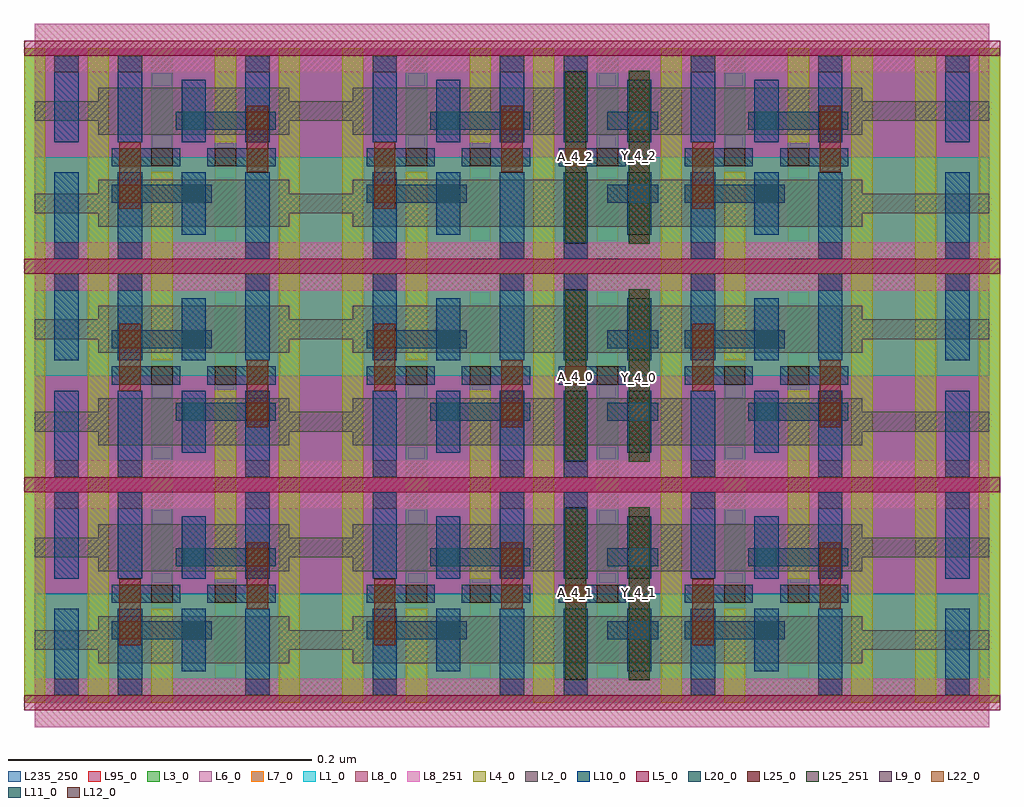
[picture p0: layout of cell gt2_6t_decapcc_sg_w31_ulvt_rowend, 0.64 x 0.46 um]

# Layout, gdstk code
import gdstk
lib = gdstk.Library(unit=1e-6, precision=5e-10)
def R(c, l, rs):  # rectangles x0, y0, x1, y1
    for r in rs: c.add(gdstk.rectangle(r[:2], r[2:], *l))
def A(c, l, x, y, w, h, nx, ny, dx, dy):  # array of equal rectangles
    R(c, l, [(x+i*dx, y+j*dy, x+i*dx+w, y+j*dy+h) for i in range(nx) for j in range(ny)])
L1_0 = (1, 0)
L2_0 = (2, 0)
L3_0 = (3, 0)
L4_0 = (4, 0)
L5_0 = (5, 0)
L6_0 = (6, 0)
L7_0 = (7, 0)
L8_0 = (8, 0)
L8_251 = (8, 251)
L9_0 = (9, 0)
L10_0 = (10, 0)
L11_0 = (11, 0)
L12_0 = (12, 0)
L20_0 = (20, 0)
L22_0 = (22, 0)
L25_0 = (25, 0)
L25_251 = (25, 251)
L95_0 = (95, 0)
L235_250 = (235, 250)

gt2_6t_tapbspdn_w13_ulvt = lib.new_cell('gt2_6t_tapbspdn_w13_ulvt')
R(gt2_6t_tapbspdn_w13_ulvt, L1_0, [(0,0.072,0.042,0.144)])
R(gt2_6t_tapbspdn_w13_ulvt, L2_0, [(0,0.035,0.042,0.048), (0,0.096,0.042,0.109)])
R(gt2_6t_tapbspdn_w13_ulvt, L3_0, [(-0.007,0,0.007,0.144), (0.035,0,0.049,0.144)])
R(gt2_6t_tapbspdn_w13_ulvt, L4_0, [(-0.007,0,0.007,0.144), (0.035,0,0.049,0.144)])
R(gt2_6t_tapbspdn_w13_ulvt, L5_0, [(-0.007,-0.005,0.049,0.005), (-0.007,0.139,0.049,0.149)])
R(gt2_6t_tapbspdn_w13_ulvt, L6_0, [(0,0,0.042,0.072)])
R(gt2_6t_tapbspdn_w13_ulvt, L7_0, [(0,0.072,0.042,0.144)])
R(gt2_6t_tapbspdn_w13_ulvt, L8_0, [(0,-0.016,0.042,0.016), (0,0.128,0.042,0.16)])
R(gt2_6t_tapbspdn_w13_ulvt, L8_251, [(0,-0.016,0.042,0.016), (0,0.128,0.042,0.16)])
R(gt2_6t_tapbspdn_w13_ulvt, L9_0, [(0.013,0.005,0.029,0.016), (0.013,0.128,0.029,0.139)])
R(gt2_6t_tapbspdn_w13_ulvt, L10_0, [(0.013,0.005,0.029,0.062), (0.013,0.082,0.029,0.139)])
R(gt2_6t_tapbspdn_w13_ulvt, L95_0, [(0,0,0.042,0.144)])
R(gt2_6t_tapbspdn_w13_ulvt, L235_250, [(0,0,0.042,0.144)])
gt2_6t_tapbspdn_w13_ulvt.add(gdstk.Label('vdd', (0.016,0.144), layer=8, texttype=251))
gt2_6t_tapbspdn_w13_ulvt.add(gdstk.Label('vss', (0.016,0), layer=8, texttype=251))

gt2_6t_decapcc_sg_w31_ul = lib.new_cell('gt2_6t_decapcc_sg_w31_ulvt')
R(gt2_6t_decapcc_sg_w31_ul, L1_0, [(0,0.072,0.126,0.144)])
R(gt2_6t_decapcc_sg_w31_ul, L2_0, [(0,0.026,0.126,0.057), (0,0.087,0.126,0.118)])
A(gt2_6t_decapcc_sg_w31_ul, L3_0, -0.007, 0, 0.014, 0.144, 4, 1, 0.042, 0)
R(gt2_6t_decapcc_sg_w31_ul, L4_0, [(-0.007,0,0.007,0.144), (0.077,0,0.091,0.062), (0.119,0,0.133,0.144), (0.035,0.082,0.049,0.144)])
R(gt2_6t_decapcc_sg_w31_ul, L5_0, [(-0.007,-0.005,0.133,0.005), (-0.007,0.139,0.133,0.149)])
R(gt2_6t_decapcc_sg_w31_ul, L6_0, [(0,0,0.126,0.072)])
R(gt2_6t_decapcc_sg_w31_ul, L7_0, [(0,0.072,0.126,0.144)])
R(gt2_6t_decapcc_sg_w31_ul, L8_0, [(0,-0.016,0.126,0.016), (0,0.128,0.126,0.16)])
R(gt2_6t_decapcc_sg_w31_ul, L8_251, [(0,-0.016,0.126,0.016), (0,0.128,0.126,0.16)])
R(gt2_6t_decapcc_sg_w31_ul, L9_0, [(0.013,0.005,0.029,0.016), (0.097,0.005,0.113,0.016), (0.013,0.128,0.029,0.139), (0.097,0.128,0.113,0.139)])
R(gt2_6t_decapcc_sg_w31_ul, L10_0, [(0.013,0.005,0.029,0.062), (0.097,0.005,0.113,0.062), (0.055,0.021,0.071,0.062), (0.013,0.082,0.029,0.139), (0.055,0.082,0.071,0.123), (0.097,0.082,0.113,0.139)])
R(gt2_6t_decapcc_sg_w31_ul, L11_0, [(0.0565,0.042,0.0695,0.054), (0.0565,0.09,0.0695,0.102)])
R(gt2_6t_decapcc_sg_w31_ul, L12_0, [(0.035,0.066,0.049,0.078), (0.077,0.066,0.091,0.078)])
R(gt2_6t_decapcc_sg_w31_ul, L20_0, [(0.051,0.042,0.117,0.054), (0.009,0.066,0.054,0.078), (0.072,0.066,0.117,0.078), (0.009,0.09,0.075,0.102)])
R(gt2_6t_decapcc_sg_w31_ul, L22_0, [(0.098,0.042,0.112,0.054), (0.014,0.066,0.028,0.078), (0.098,0.066,0.112,0.078), (0.014,0.09,0.028,0.102)])
R(gt2_6t_decapcc_sg_w31_ul, L25_0, [(0.098,0.038,0.112,0.082), (0.014,0.062,0.028,0.106)])
R(gt2_6t_decapcc_sg_w31_ul, L95_0, [(0,0,0.126,0.144)])
R(gt2_6t_decapcc_sg_w31_ul, L235_250, [(0,0,0.126,0.144)])
gt2_6t_decapcc_sg_w31_ul.add(gdstk.Label('vss', (0.063,0), layer=8, texttype=251))
gt2_6t_decapcc_sg_w31_ul.add(gdstk.Label('vdd', (0.063,0.144), layer=8, texttype=251))

gt2_6t_filler_w13_ulvt = lib.new_cell('gt2_6t_filler_w13_ulvt')
R(gt2_6t_filler_w13_ulvt, L1_0, [(0,0.072,0.042,0.144)])
R(gt2_6t_filler_w13_ulvt, L2_0, [(0,0.035,0.042,0.048), (0,0.096,0.042,0.109)])
R(gt2_6t_filler_w13_ulvt, L3_0, [(-0.007,0,0.007,0.144), (0.035,0,0.049,0.144)])
R(gt2_6t_filler_w13_ulvt, L4_0, [(-0.007,0,0.007,0.144), (0.035,0,0.049,0.144)])
R(gt2_6t_filler_w13_ulvt, L5_0, [(-0.007,-0.005,0.049,0.005), (-0.007,0.139,0.049,0.149)])
R(gt2_6t_filler_w13_ulvt, L6_0, [(0,0,0.042,0.072)])
R(gt2_6t_filler_w13_ulvt, L7_0, [(0,0.072,0.042,0.144)])
R(gt2_6t_filler_w13_ulvt, L8_0, [(0,-0.016,0.042,0.016), (0,0.128,0.042,0.16)])
R(gt2_6t_filler_w13_ulvt, L8_251, [(0,-0.016,0.042,0.016), (0,0.128,0.042,0.16)])
R(gt2_6t_filler_w13_ulvt, L95_0, [(0,0,0.042,0.144)])
R(gt2_6t_filler_w13_ulvt, L235_250, [(0,0,0.042,0.144)])
gt2_6t_filler_w13_ulvt.add(gdstk.Label('vss', (0.016,0), layer=8, texttype=251))
gt2_6t_filler_w13_ulvt.add(gdstk.Label('vdd', (0.016,0.144), layer=8, texttype=251))

gt2_6t_inv_x1_w31_ulvt = lib.new_cell('gt2_6t_inv_x1_w31_ulvt')
R(gt2_6t_inv_x1_w31_ulvt, L1_0, [(0,0.072,0.084,0.144)])
R(gt2_6t_inv_x1_w31_ulvt, L2_0, [(0,0.026,0.084,0.057), (0,0.087,0.084,0.118)])
A(gt2_6t_inv_x1_w31_ulvt, L3_0, -0.007, 0, 0.014, 0.144, 3, 1, 0.042, 0)
R(gt2_6t_inv_x1_w31_ulvt, L4_0, [(-0.007,0,0.007,0.144), (0.077,0,0.091,0.144)])
R(gt2_6t_inv_x1_w31_ulvt, L5_0, [(-0.007,-0.005,0.091,0.005), (-0.007,0.139,0.091,0.149)])
R(gt2_6t_inv_x1_w31_ulvt, L6_0, [(0,0,0.084,0.072)])
R(gt2_6t_inv_x1_w31_ulvt, L7_0, [(0,0.072,0.084,0.144)])
R(gt2_6t_inv_x1_w31_ulvt, L8_0, [(0,-0.016,0.084,0.016), (0,0.128,0.084,0.16)])
R(gt2_6t_inv_x1_w31_ulvt, L8_251, [(0,-0.016,0.084,0.016), (0,0.128,0.084,0.16)])
R(gt2_6t_inv_x1_w31_ulvt, L9_0, [(0.013,0.005,0.029,0.016), (0.013,0.128,0.029,0.139)])
R(gt2_6t_inv_x1_w31_ulvt, L10_0, [(0.013,0.005,0.029,0.062), (0.055,0.021,0.071,0.062), (0.013,0.082,0.029,0.139), (0.055,0.082,0.071,0.123)])
R(gt2_6t_inv_x1_w31_ulvt, L11_0, [(0.0565,0.042,0.0695,0.054), (0.0565,0.09,0.0695,0.102)])
R(gt2_6t_inv_x1_w31_ulvt, L12_0, [(0.035,0.066,0.049,0.078)])
R(gt2_6t_inv_x1_w31_ulvt, L20_0, [(0.042,0.042,0.0755,0.054), (0.01,0.066,0.054,0.078), (0.042,0.09,0.0755,0.102)])
R(gt2_6t_inv_x1_w31_ulvt, L22_0, [(0.056,0.042,0.07,0.054), (0.014,0.066,0.028,0.078), (0.056,0.09,0.07,0.102)])
R(gt2_6t_inv_x1_w31_ulvt, L25_0, [(0.014,0.015,0.028,0.129), (0.056,0.015,0.07,0.129)])
R(gt2_6t_inv_x1_w31_ulvt, L25_251, [(0.014,0.015,0.028,0.129), (0.056,0.015,0.07,0.129)])
R(gt2_6t_inv_x1_w31_ulvt, L95_0, [(0,0,0.084,0.144)])
R(gt2_6t_inv_x1_w31_ulvt, L235_250, [(0,0,0.084,0.144)])
gt2_6t_inv_x1_w31_ulvt.add(gdstk.Label('vdd', (0.022,0.144), layer=8, texttype=251))
gt2_6t_inv_x1_w31_ulvt.add(gdstk.Label('vss', (0.042,0.0035), layer=8, texttype=251))
gt2_6t_inv_x1_w31_ulvt.add(gdstk.Label('A', (0.021,0.0715), layer=25, texttype=251))
gt2_6t_inv_x1_w31_ulvt.add(gdstk.Label('Y', (0.063,0.071), layer=25, texttype=251))

c_gt2_6t_decapcc_sg_w31_ul = lib.new_cell('gt2_6t_decapcc_sg_w31_ulvt_rowend')
c_gt2_6t_decapcc_sg_w31_ul.add(gdstk.Reference(gt2_6t_tapbspdn_w13_ulvt, (0,0)))
c_gt2_6t_decapcc_sg_w31_ul.add(gdstk.Reference(gt2_6t_decapcc_sg_w31_ul, (0.042,0)))
c_gt2_6t_decapcc_sg_w31_ul.add(gdstk.Reference(gt2_6t_filler_w13_ulvt, (0.168,0)))
c_gt2_6t_decapcc_sg_w31_ul.add(gdstk.Reference(gt2_6t_decapcc_sg_w31_ul, (0.21,0)))
c_gt2_6t_decapcc_sg_w31_ul.add(gdstk.Reference(gt2_6t_inv_x1_w31_ulvt, (0.336,0)))
c_gt2_6t_decapcc_sg_w31_ul.add(gdstk.Reference(gt2_6t_decapcc_sg_w31_ul, (0.42,0)))
c_gt2_6t_decapcc_sg_w31_ul.add(gdstk.Reference(gt2_6t_filler_w13_ulvt, (0.546,0)))
c_gt2_6t_decapcc_sg_w31_ul.add(gdstk.Reference(gt2_6t_tapbspdn_w13_ulvt, (0.588,0)))
c_gt2_6t_decapcc_sg_w31_ul.add(gdstk.Reference(gt2_6t_tapbspdn_w13_ulvt, (0,0), x_reflection=True))
c_gt2_6t_decapcc_sg_w31_ul.add(gdstk.Reference(gt2_6t_decapcc_sg_w31_ul, (0.042,0), x_reflection=True))
c_gt2_6t_decapcc_sg_w31_ul.add(gdstk.Reference(gt2_6t_filler_w13_ulvt, (0.168,0), x_reflection=True))
c_gt2_6t_decapcc_sg_w31_ul.add(gdstk.Reference(gt2_6t_decapcc_sg_w31_ul, (0.21,0), x_reflection=True))
c_gt2_6t_decapcc_sg_w31_ul.add(gdstk.Reference(gt2_6t_inv_x1_w31_ulvt, (0.336,0), x_reflection=True))
c_gt2_6t_decapcc_sg_w31_ul.add(gdstk.Reference(gt2_6t_decapcc_sg_w31_ul, (0.42,0), x_reflection=True))
c_gt2_6t_decapcc_sg_w31_ul.add(gdstk.Reference(gt2_6t_filler_w13_ulvt, (0.546,0), x_reflection=True))
c_gt2_6t_decapcc_sg_w31_ul.add(gdstk.Reference(gt2_6t_tapbspdn_w13_ulvt, (0.588,0), x_reflection=True))
c_gt2_6t_decapcc_sg_w31_ul.add(gdstk.Reference(gt2_6t_tapbspdn_w13_ulvt, (0,0.288), x_reflection=True))
c_gt2_6t_decapcc_sg_w31_ul.add(gdstk.Reference(gt2_6t_decapcc_sg_w31_ul, (0.042,0.288), x_reflection=True))
c_gt2_6t_decapcc_sg_w31_ul.add(gdstk.Reference(gt2_6t_filler_w13_ulvt, (0.168,0.288), x_reflection=True))
c_gt2_6t_decapcc_sg_w31_ul.add(gdstk.Reference(gt2_6t_decapcc_sg_w31_ul, (0.21,0.288), x_reflection=True))
c_gt2_6t_decapcc_sg_w31_ul.add(gdstk.Reference(gt2_6t_inv_x1_w31_ulvt, (0.336,0.288), x_reflection=True))
c_gt2_6t_decapcc_sg_w31_ul.add(gdstk.Reference(gt2_6t_decapcc_sg_w31_ul, (0.42,0.288), x_reflection=True))
c_gt2_6t_decapcc_sg_w31_ul.add(gdstk.Reference(gt2_6t_filler_w13_ulvt, (0.546,0.288), x_reflection=True))
c_gt2_6t_decapcc_sg_w31_ul.add(gdstk.Reference(gt2_6t_tapbspdn_w13_ulvt, (0.588,0.288), x_reflection=True))
c_gt2_6t_decapcc_sg_w31_ul.add(gdstk.Label('A_4_0', (0.357,0.0715), layer=25, texttype=251))
c_gt2_6t_decapcc_sg_w31_ul.add(gdstk.Label('Y_4_0', (0.399,0.071), layer=25, texttype=251))
c_gt2_6t_decapcc_sg_w31_ul.add(gdstk.Label('A_4_1', (0.357,-0.0715), layer=25, texttype=251))
c_gt2_6t_decapcc_sg_w31_ul.add(gdstk.Label('Y_4_1', (0.399,-0.071), layer=25, texttype=251))
c_gt2_6t_decapcc_sg_w31_ul.add(gdstk.Label('A_4_2', (0.357,0.2165), layer=25, texttype=251))
c_gt2_6t_decapcc_sg_w31_ul.add(gdstk.Label('Y_4_2', (0.399,0.217), layer=25, texttype=251))

lib.write_gds('gt2_6t_decapcc_sg_w31_ulvt_rowend.gds')
